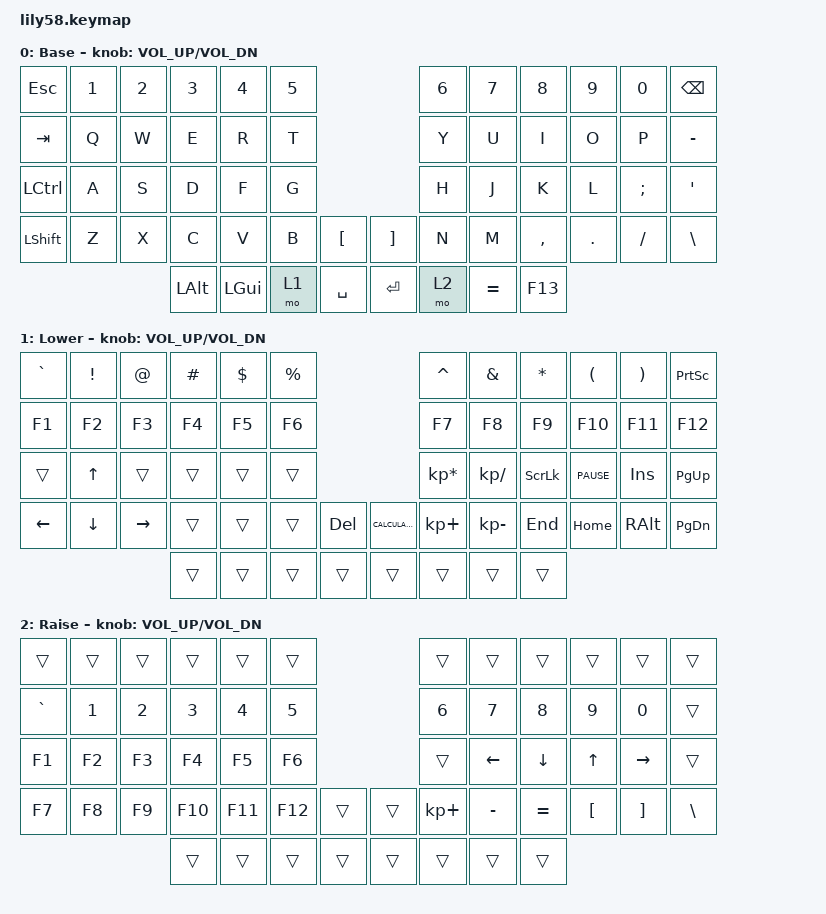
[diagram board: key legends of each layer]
/*
 * Copyright (c) 2020 The ZMK Contributors
 *
 * SPDX-License-Identifier: MIT
 */

#include <behaviors.dtsi>
#include <dt-bindings/zmk/keys.h>

/ {
    keymap {
        compatible = "zmk,keymap";

        default_layer {
            // ------------------------------------------------------------------------------------------------------------
            // |  ESC  |  1  |  2  |  3   |  4   |  5   |                   |  6   |  7    |  8    |  9   |   0   |   `   |
            // |  TAB  |  Q  |  W  |  E   |  R   |  T   |                   |  Y   |  U    |  I    |  O   |   P   |   -   |
            // |  CTRL |  A  |  S  |  D   |  F   |  G   |                   |  H   |  J    |  K    |  L   |   ;   |   '   |
            // | SHIFT |  Z  |  X  |  C   |  V   |  B   |   "["  |  |  "]"  |  N   |  M    |  ,    |  .   |   /   | SHIFT |
            //                     | ALT  | GUI  | LOWER|  SPACE |  | ENTER | RAISE| BSPC  | GUI   |

            display-name = "Base";
            bindings = <
&kp ESC    &kp N1  &kp N2  &kp N3    &kp N4    &kp N5                         &kp N6  &kp N7     &kp N8     &kp N9   &kp N0    &kp BACKSPACE
&kp TAB    &kp Q   &kp W   &kp E     &kp R     &kp T                          &kp Y   &kp U      &kp I      &kp O    &kp P     &kp MINUS
&kp LCTRL  &kp A   &kp S   &kp D     &kp F     &kp G                          &kp H   &kp J      &kp K      &kp L    &kp SEMI  &kp SQT
&kp LSHFT  &kp Z   &kp X   &kp C     &kp V     &kp B   &kp LBKT     &kp RBKT  &kp N   &kp M      &kp COMMA  &kp DOT  &kp FSLH  &kp BACKSLASH
                           &kp LALT  &kp LGUI  &mo 1   &kp SPACE    &kp RET   &mo 2   &kp EQUAL  &kp F13
            >;

            sensor-bindings = <&inc_dec_kp C_VOL_UP C_VOL_DN>;
        };

        lower_layer {
            // ------------------------------------------------------------------------------------------------------------
            // | BTCLR | BT1 | BT2 |  BT3 |  BT4 |  BT5 |                   |      |       |       |      |       |       |
            // |  F1   |  F2 |  F3 |  F4  |  F5  |  F6  |                   |  F7  |  F8   |  F9   |  F10 |  F11  |  F12  |
            // |   `   |  !  |  @  |  #   |  $   |  %   |                   |  ^   |  &    |  *    |  (   |   )   |   ~   |
            // |       |     |     |      |      |      |        |  |       |      |  _    |  +    |  {   |   }   |  "|"  |
            //                     |      |      |      |        |  |       |      |       |       |

            display-name = "Lower";
            bindings = <
&kp GRAVE  &kp EXCLAMATION  &kp AT_SIGN  &kp POUND  &kp DOLLAR  &kp PERCENT                                  &kp CARET        &kp AMPERSAND  &kp STAR        &kp LEFT_PARENTHESIS  &kp RIGHT_PARENTHESIS  &kp PRINTSCREEN
&kp F1     &kp F2           &kp F3       &kp F4     &kp F5      &kp F6                                       &kp F7           &kp F8         &kp F9          &kp F10               &kp F11                &kp F12
&trans     &kp UP_ARROW     &trans       &trans     &trans      &trans                                       &kp KP_MULTIPLY  &kp KP_DIVIDE  &kp SCROLLLOCK  &kp C_PAUSE           &kp INSERT             &kp PAGE_UP
&kp LEFT   &kp DOWN_ARROW   &kp RIGHT    &trans     &trans      &trans       &kp DELETE    &kp K_CALCULATOR  &kp KP_PLUS      &kp KP_MINUS   &kp END         &kp HOME              &kp RIGHT_ALT          &kp PAGE_DOWN
                                         &trans     &trans      &trans       &trans        &trans            &trans           &trans         &trans
            >;

            sensor-bindings = <&inc_dec_kp C_VOL_UP C_VOL_DN>;
        };

        raise_layer {
            // ------------------------------------------------------------------------------------------------------------
            // |       |     |     |      |      |      |                   |      |       |       |      |       |       |
            // |   `   |  1  |  2  |  3   |  4   |  5   |                   |  6   |   7   |   8   |  9   |   0   |       |
            // |   F1  |  F2 |  F3 |  F4  |  F5  |  F6  |                   |      |   <-  |   v   |  ^   |  ->   |       |
            // |   F7  |  F8 |  F9 |  F10 |  F11 |  F12 |        |  |       |  +   |   -   |   =   |  [   |   ]   |   \   |
            //                     |      |      |      |        |  |       |      |       |       |

            display-name = "Raise";
            bindings = <
&trans     &trans  &trans  &trans   &trans   &trans                     &trans       &trans     &trans     &trans    &trans     &trans
&kp GRAVE  &kp N1  &kp N2  &kp N3   &kp N4   &kp N5                     &kp N6       &kp N7     &kp N8     &kp N9    &kp N0     &trans
&kp F1     &kp F2  &kp F3  &kp F4   &kp F5   &kp F6                     &trans       &kp LEFT   &kp DOWN   &kp UP    &kp RIGHT  &trans
&kp F7     &kp F8  &kp F9  &kp F10  &kp F11  &kp F12  &trans    &trans  &kp KP_PLUS  &kp MINUS  &kp EQUAL  &kp LBKT  &kp RBKT   &kp BSLH
                           &trans   &trans   &trans   &trans    &trans  &trans       &trans     &trans
            >;

            sensor-bindings = <&inc_dec_kp C_VOL_UP C_VOL_DN>;
        };
    };
};
